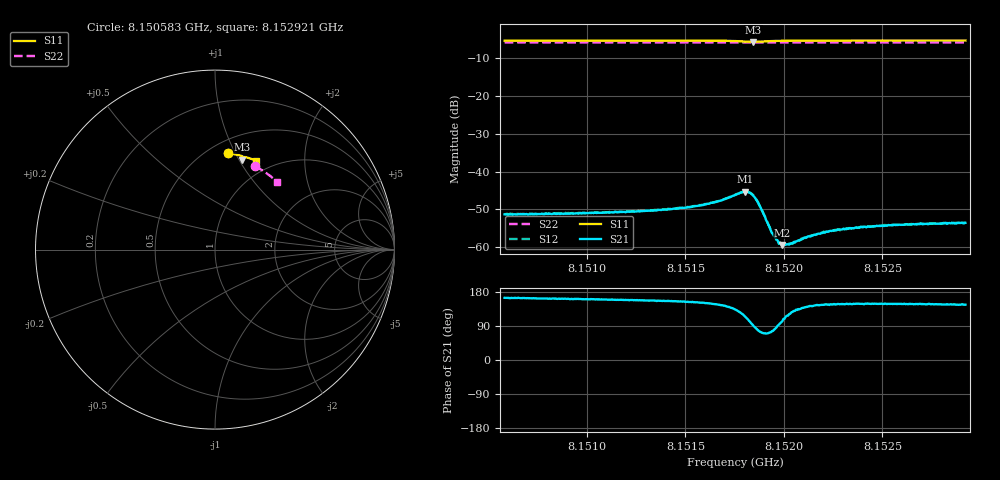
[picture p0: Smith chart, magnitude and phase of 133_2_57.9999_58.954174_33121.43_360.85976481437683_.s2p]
#  HZ  S  RI  R  50.00
! Rohde & Schwarz Vector Network Analyzer
! Rohde-Schwarz,ZNB20-2Port,1311601062101988,3.16
! Created: UTC 3/21/2024, 12:56:12 AM
! freq[Hz]  re:S11  im:S11  re:S21  im:S21  re:S12  im:S12  re:S22  im:S22
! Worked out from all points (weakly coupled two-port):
!   401 points, 8.150583 GHz to 8.152921 GHz, reference 50 ohm
!   highest |S21| = -45.29 dB at 8.151805 GHz (marker M1); lowest = -59.4 dB at 8.151992 GHz (marker M2)
!   lowest |S11| = -5.6 dB at 8.151845 GHz (marker M3), VSWR 3.19, Z = 37.5 + j51.5 ohm
!   |S11| at or under -10 dB: nowhere
!   |S22| runs from -5.8 to -5.8 dB; largest |S21 - S12| = 0.00012
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8.1505832e9  0.0731 0.5367  -0.00263 0.00075  -0.00264 0.000794  0.2233 0.4637
8.1509747e9  0.1007 0.5329  -0.00265 0.000936  -0.00266 0.000977  0.2457 0.452
8.1513662e9  0.1289 0.5272  -0.00285 0.00126  -0.00284 0.0013  0.2674 0.4389
8.1515824e9  0.1456 0.5221  -0.00316 0.00174  -0.00317 0.00179  0.2789 0.4311
8.1516759e9  0.1536 0.518  -0.00338 0.00236  -0.00341 0.00243  0.2839 0.4277
8.1517519e9  0.1598 0.5111  -0.00338 0.00356  -0.00334 0.00364  0.2878 0.4246
8.1518045e9  0.1592 0.5023  -0.00221 0.00497  -0.00214 0.00503  0.2903 0.4225
8.151822e9  0.1562 0.5001  -0.0013 0.00516  -0.00128 0.00519  0.2912 0.4219
8.1518454e9  0.1514 0.5001  -1.23e-05 0.0048  6.02e-05 0.00485  0.292 0.421
8.1518746e9  0.1477 0.5048  0.000887 0.00354  0.000927 0.00355  0.2934 0.4202
8.1519272e9  0.151 0.5128  0.000552 0.00177  0.000589 0.00176  0.2963 0.4186
8.1519506e9  0.1537 0.5144  0.000235 0.00137  0.000263 0.00141  0.2976 0.4176
8.151974e9  0.1565 0.5152  -5.16e-05 0.00112  -3.21e-05 0.00115  0.2988 0.4169
8.1519915e9  0.1584 0.5157  -0.000226 0.00105  -0.000248 0.00104  0.2998 0.4162
8.1520032e9  0.1597 0.5159  -0.00035 0.00103  -0.000347 0.00104  0.3005 0.4158
8.1520207e9  0.1616 0.516  -0.000498 0.000972  -0.000489 0.000973  0.3014 0.4151
8.1521435e9  0.1727 0.5146  -0.00113 0.000875  -0.00115 0.000871  0.3077 0.4103
8.1521902e9  0.1763 0.5138  -0.00127 0.000885  -0.00128 0.000916  0.3101 0.4084
8.1522895e9  0.1838 0.5117  -0.00146 0.000923  -0.00144 0.000927  0.3149 0.4045
8.1524064e9  0.1923 0.509  -0.00157 0.00101  -0.0016 0.00102  0.3208 0.3996
8.152535e9  0.2011 0.506  -0.00166 0.00103  -0.00167 0.00106  0.327 0.3943
8.1529207e9  0.2266 0.4959  -0.00174 0.00118  -0.00177 0.00121  0.3454 0.3777
